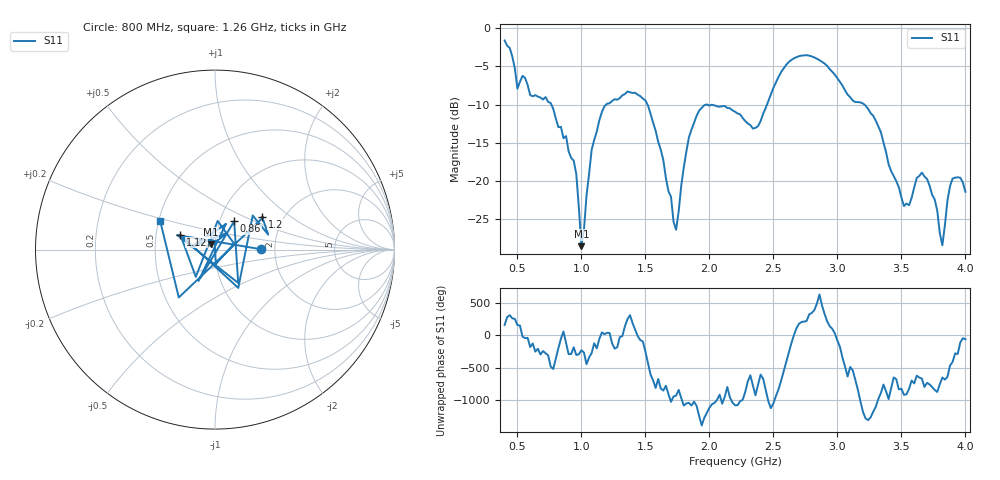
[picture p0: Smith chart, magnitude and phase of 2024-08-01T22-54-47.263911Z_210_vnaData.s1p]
!Created with skrf (http://scikit-rf.org).
# Hz S RI R 50.0
!freq ReS11 ImS11
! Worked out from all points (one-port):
!   181 points, 400 MHz to 4 GHz, reference 50 ohm
!   lowest |S11| = -28.5 dB at 1 GHz (marker M1), VSWR 1.08, Z = 47.7 + j2.83 ohm
!   |S11| at or under -10 dB: 1.517 GHz to 1.975 GHz (457.5 MHz wide, 26.2 % of centre); 1.984 GHz to 2.45 GHz (466.2 MHz wide, 21 % of centre); 3.211 GHz to end of sweep (the widest 3 of 4)
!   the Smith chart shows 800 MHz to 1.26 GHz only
!   S11 on the Smith chart (normalised r, x): 800 MHz: 1.69, +0.01; 860 MHz: 1.17, +0.38; 1.12 GHz: 0.67, +0.12; 1.2 GHz: 1.55, +0.64; 1.26 GHz: 0.51, +0.18
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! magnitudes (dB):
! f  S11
! 400 MHz  -1.6
! 500 MHz  -7.9
! 540 MHz  -6.2
! 800 MHz  -11.8
! 860 MHz  -14.4
! 960 MHz  -19.1
! 1 GHz  -28.5
! 1.08 GHz  -15.9
! 1.12 GHz  -13.5
! 1.2 GHz  -9.9
! 1.26 GHz  -9.3
! 1.3 GHz  -9.1
! 1.52 GHz  -10.1
! 1.72 GHz  -25.3
! 1.76 GHz  -23.9
! 1.84 GHz  -14.3
! 1.92 GHz  -10.8
! 2.2 GHz  -10.9
! 2.38 GHz  -12.8
! 2.66 GHz  -3.9
! 3.1 GHz  -9.0
! 3.28 GHz  -11.5
! 3.56 GHz  -23.2
! 3.66 GHz  -18.9
! 3.76 GHz  -22.4
! 3.82 GHz  -28.4
! 3.9 GHz  -19.7
! 4 GHz  -21.4
